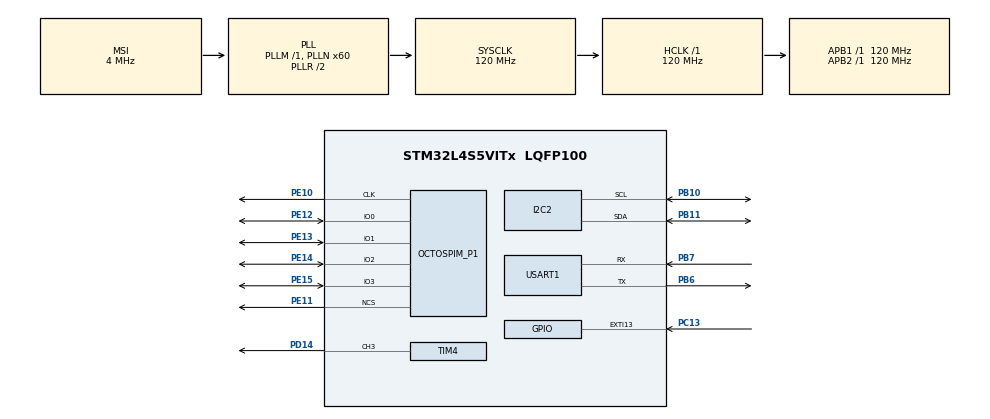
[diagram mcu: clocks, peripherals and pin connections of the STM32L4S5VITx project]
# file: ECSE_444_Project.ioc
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I2C2.Timing=0x30A175AB
Mcu.Family=STM32L4
Mcu.Name=STM32L4S5VITx
Mcu.Package=LQFP100
NVIC.EXTI15_10_IRQn=true\:0\:0\:false\:false\:true\:true\:true\:true
NVIC.PriorityGroup=NVIC_PRIORITYGROUP_4
NVIC.TIM6_DAC_IRQn=true\:15\:0\:false\:false\:true\:false\:true\:true
NVIC.TimeBase=TIM6_DAC_IRQn
NVIC.TimeBaseIP=TIM6
PB10.Mode=I2C
PB10.Signal=I2C2_SCL
PB11.Mode=I2C
PB11.Signal=I2C2_SDA
PB6.Mode=Asynchronous
PB6.Signal=USART1_TX
PB7.Mode=Asynchronous
PB7.Signal=USART1_RX
PC13.Signal=GPXTI13
PD14.Signal=S_TIM4_CH3
PE10.Mode=O1_P1_CLK
PE10.Signal=OCTOSPIM_P1_CLK
PE11.Mode=OCTOSPI1_Port1_NCS
PE11.Signal=OCTOSPIM_P1_NCS
PE12.Mode=OCTOSPI1_IOL_Port1L
PE12.Signal=OCTOSPIM_P1_IO0
PE13.Mode=OCTOSPI1_IOL_Port1L
PE13.Signal=OCTOSPIM_P1_IO1
PE14.Mode=OCTOSPI1_IOL_Port1L
PE14.Signal=OCTOSPIM_P1_IO2
PE15.Mode=OCTOSPI1_IOL_Port1L
PE15.Signal=OCTOSPIM_P1_IO3
ProjectManager.HeapSize=0x200
ProjectManager.StackSize=0x400
ProjectManager.TargetToolchain=STM32CubeIDE
RCC.ADCFreq_Value=48000000
RCC.AHBFreq_Value=120000000
RCC.APB1Freq_Value=120000000
RCC.APB1TimFreq_Value=120000000
RCC.APB2Freq_Value=120000000
RCC.APB2TimFreq_Value=120000000
RCC.CortexFreq_Value=120000000
RCC.HCLKFreq_Value=120000000
RCC.HSE_VALUE=8000000
RCC.HSI48_VALUE=48000000
RCC.HSI_VALUE=16000000
RCC.LSE_VALUE=32768
RCC.MSI_VALUE=4000000
RCC.PLLN=60
RCC.PLLSAI1N=24
RCC.SYSCLKFreq_VALUE=120000000
RCC.SYSCLKSource=RCC_SYSCLKSOURCE_PLLCLK
RCC.USBFreq_Value=48000000
RCC.VCOOutputFreq_Value=240000000
SH.S_TIM4_CH3.0=TIM4_CH3,PWM Generation3 CH3
TIM4.Channel-PWM\ Generation3\ CH3=TIM_CHANNEL_3
TIM4.Period=19999
TIM4.Prescaler=119
USART1.VirtualMode-Asynchronous=VM_ASYNC
VP_OCTOSPI1_VS_quad.Mode=quad_mode
VP_SYS_VS_tim6.Mode=TIM6
VP_TIM4_VS_ClockSourceINT.Mode=Internal
board=B-L4S5I-IOT01A

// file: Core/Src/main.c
/* USER CODE BEGIN Header */
/**
  ******************************************************************************
  * @file           : main.c
  * @brief          : Main program body
  ******************************************************************************
  * @attention
  *
  * Copyright (c) 2026 STMicroelectronics.
  * All rights reserved.
  *
  * This software is licensed under terms that can be found in the LICENSE file
  * in the root directory of this software component.
  * If no LICENSE file comes with this software, it is provided AS-IS.
  *
  ******************************************************************************
  */

/*
 * Code References:
 * Sleep Mode: https://wiki.st.com/stm32mcu/wiki/Getting_started_with_PWR#Configure_the_sleep_mode
 * Wrench to PWM: https://github.com/mcgill-robotics/AUV-2025/blob/noetic/catkin_ws/src/propulsion/src/thrust_mapper.py
 * All previous labs for ECSE444, all course materials from ECSE 444
 */

/* USER CODE END Header */
#include "main.h"
#include "i2c.h"
#include "octospi.h"
#include "tim.h"
#include "usart.h"
#include "gpio.h"

/* USER CODE BEGIN Includes */
#include <stdio.h>
#include <string.h>
#include <stdbool.h>
#define ARM_MATH_CM4
#include "arm_math.h"

#include "stm32l4s5i_iot01_qspi.h"
#include "stm32l4s5i_iot01_tsensor.h"
/* USER CODE END Includes */

/* USER CODE BEGIN PTD */

/* Struct for wrench vector */
typedef struct {
    union {
        float wrench[6];
        struct {
            float force_x, force_y, force_z;
            float torque_x, torque_y, torque_z;
        };
    };
    bool isValid;
} WrenchPacket;

/* USER CODE END PTD */

/* USER CODE BEGIN PD */

#define UART_RX_TIMEOUT      100
#define UART_TX_TIMEOUT      100
#define UART_RX_BUFFER_SIZE  128
#define UART_TX_BUFFER_SIZE  256
#define WRENCH_SIZE          6
#define NUM_THRUSTERS        8

#define AUV_ALPHA_DEG   45.0f    // angle_thruster (from launch file)
#define AUV_W           0.47f    // distance_thruster_thruster_width
#define AUV_A           0.0925f  // distance_thruster_middle_length

#define PWM_NEUTRAL     1500
#define PWM_LOWER       1228     // thruster_PWM_lower_limit
#define PWM_UPPER       1768     // thruster_PWM_upper_limit

#define NUM_SENSORS 			3			// Temperature, voltage1, voltage 2
#define NUM_SAMPLES 			5  			// Can increment to be a larger number of samples as desired
#define DATA_SIZE 				0x1000
#define FLASH_BLOCK_ADDR 		0x000000 	// Base address of flash memory area used
#define TEMP_FLASH_ADDR			0x000000
#define VOLTAGE1_FLASH_ADDR  	0x001000
#define VOLTAGE2_FLASH_ADDR	    0x002000
#define MAX_TEMP				30		    // Max allowed temperature

/* USER CODE END PD */

/* USER CODE BEGIN PV */
char     uartRxBuffer[UART_RX_BUFFER_SIZE];
char     uartTxBuffer[UART_TX_BUFFER_SIZE];
uint8_t  uartByte;
uint8_t  byte = 0;
WrenchPacket wrenchPacket = {0};

// CMSIS-DSP matrix data buffers
static float32_t T_data[6 * 8];
static float32_t T_t_data[8 * 6];
static float32_t TTt_data[6 * 6];
static float32_t TTt_copy_data[6 * 6];
static float32_t TTt_inv_data[6 * 6];
static float32_t T_inv_data[8 * 6];
static float32_t wrench_vec[6];
static float32_t forces_vec[8];

// CMSIS-DSP matrix instances
static arm_matrix_instance_f32 mat_T, mat_T_t;
static arm_matrix_instance_f32 mat_TTt, mat_TTt_copy, mat_TTt_inv;
static arm_matrix_instance_f32 mat_T_inv;
static arm_matrix_instance_f32 mat_wrench, mat_forces;

static const float32_t mount_dirs[NUM_THRUSTERS] = {
    1.0f, 1.0f, 1.0f, 1.0f, 1.0f, 1.0f, 1.0f, 1.0f
};

// Samples of sensor data
float tempSample, voltage1Sample, voltage2Sample;

// Store samples of sensor data in an array
float tempData[NUM_SAMPLES];
float voltage1Data[NUM_SAMPLES];
float voltage2Data[NUM_SAMPLES];

// Counter for number of samples taken from each sensor (assume all taken at the same time)
uint16_t sampleCount = {0};

// Store sensor data read from flash
float tempDataFlashRead[NUM_SAMPLES];
float voltage1DataFlashRead[NUM_SAMPLES];
float voltage2DataFlashRead[NUM_SAMPLES];

// Check if flash has been written to at least once
bool writeOnce = false;

/* USER CODE END PV */

void SystemClock_Config(void);
/* USER CODE BEGIN PFP */
void Uart_Processing(void);
void ThrustMapper_Init(void);
void Compute_PWM_From_Wrench(WrenchPacket *wp, uint16_t pwm_out[NUM_THRUSTERS]);
float32_t Force_To_PWM(float32_t force);
void Sensors_Write_to_Flash();
void Sensors_Read_from_Flash();
void Sleep_Mode();
void Bad_Input();

/* USER CODE END PFP */

int main(void)
{

  /* MCU Configuration--------------------------------------------------------*/

  /* Reset of all peripherals, Initializes the Flash interface and the Systick. */
  HAL_Init();

  /* Configure the system clock */
  SystemClock_Config();

  /* Initialize all configured peripherals */
  MX_GPIO_Init();
  MX_OCTOSPI1_Init();
  MX_I2C2_Init();
  MX_USART1_UART_Init();
  MX_TIM4_Init();
  /* USER CODE BEGIN 2 */

  ThrustMapper_Init();
  BSP_TSENSOR_Init();

  // Start Timer 4, Channel 3 (PWM) and set to 1500
  HAL_TIM_PWM_Start(&htim4, TIM_CHANNEL_3);
  __HAL_TIM_SET_COMPARE(&htim4, TIM_CHANNEL_3, 1500);  // set thruster output to 0

  if (BSP_QSPI_Init() != QSPI_OK) {
	  Error_Handler();
	}

  // Erase flash memory to be used for sensor data
  for (int i = 0; i < NUM_SENSORS; i++) {
      if (BSP_QSPI_Erase_Block(FLASH_BLOCK_ADDR + i * DATA_SIZE) != QSPI_OK) {
          Error_Handler();
      }
  }

  /* USER CODE END 2 */

  /* Infinite loop */
  /* USER CODE BEGIN WHILE */
  while (1)
  {

	  // Main function to process UART input and make decisions
	  Uart_Processing();

    /* USER CODE END WHILE */

  }
}

void SystemClock_Config(void)
{
  RCC_OscInitTypeDef RCC_OscInitStruct = {0};
  RCC_ClkInitTypeDef RCC_ClkInitStruct = {0};

  /** Configure the main internal regulator output voltage
  */
  if (HAL_PWREx_ControlVoltageScaling(PWR_REGULATOR_VOLTAGE_SCALE1_BOOST) != HAL_OK)
  {
    Error_Handler();
  }

  /** Initializes the RCC Oscillators according to the specified parameters
  * in the RCC_OscInitTypeDef structure.
  */
  RCC_OscInitStruct.OscillatorType = RCC_OSCILLATORTYPE_MSI;
  RCC_OscInitStruct.MSIState = RCC_MSI_ON;
  RCC_OscInitStruct.MSICalibrationValue = 0;
  RCC_OscInitStruct.MSIClockRange = RCC_MSIRANGE_6;
  RCC_OscInitStruct.PLL.PLLState = RCC_PLL_ON;
  RCC_OscInitStruct.PLL.PLLSource = RCC_PLLSOURCE_MSI;
  RCC_OscInitStruct.PLL.PLLM = 1;
  RCC_OscInitStruct.PLL.PLLN = 60;
  RCC_OscInitStruct.PLL.PLLP = RCC_PLLP_DIV2;
  RCC_OscInitStruct.PLL.PLLQ = RCC_PLLQ_DIV2;
  RCC_OscInitStruct.PLL.PLLR = RCC_PLLR_DIV2;
  if (HAL_RCC_OscConfig(&RCC_OscInitStruct) != HAL_OK)
  {
    Error_Handler();
  }

  /** Initializes the CPU, AHB and APB buses clocks
  */
  RCC_ClkInitStruct.ClockType = RCC_CLOCKTYPE_HCLK|RCC_CLOCKTYPE_SYSCLK
                              |RCC_CLOCKTYPE_PCLK1|RCC_CLOCKTYPE_PCLK2;
  RCC_ClkInitStruct.SYSCLKSource = RCC_SYSCLKSOURCE_PLLCLK;
  RCC_ClkInitStruct.AHBCLKDivider = RCC_SYSCLK_DIV1;
  RCC_ClkInitStruct.APB1CLKDivider = RCC_HCLK_DIV1;
  RCC_ClkInitStruct.APB2CLKDivider = RCC_HCLK_DIV1;

  if (HAL_RCC_ClockConfig(&RCC_ClkInitStruct, FLASH_LATENCY_5) != HAL_OK)
  {
    Error_Handler();
  }
}

/* USER CODE BEGIN 4 */

// User Functions

/*
 * static void ThrustMapper_BuildT(void)
 * Construct thruster allocation matrix that maps individual thruster forces to six-DOF wrench
 */
static void ThrustMapper_BuildT(void) {
    float32_t alpha = AUV_ALPHA_DEG * (float32_t)M_PI / 180.0f;
    float32_t ca = arm_cos_f32(alpha);
    float32_t sa = arm_sin_f32(alpha);
    float32_t w  = AUV_W;
    float32_t a  = AUV_A;
    float32_t gm = a * sa - (w / 2.0f) * ca;

    // Row 0 — SURGE
    T_data[0]=ca;   T_data[1]=0;    T_data[2]=0;    T_data[3]=-ca;
    T_data[4]=-ca;  T_data[5]=0;    T_data[6]=0;    T_data[7]=ca;
    // Row 1 — SWAY
    T_data[8]=-sa;  T_data[9]=0;    T_data[10]=0;   T_data[11]=-sa;
    T_data[12]=sa;  T_data[13]=0;   T_data[14]=0;   T_data[15]=sa;
    // Row 2 — HEAVE
    T_data[16]=0;   T_data[17]=-1;  T_data[18]=-1;  T_data[19]=0;
    T_data[20]=0;   T_data[21]=-1;  T_data[22]=-1;  T_data[23]=0;
    // Row 3 — ROLL
    T_data[24]=0;   T_data[25]=w/2; T_data[26]=w/2; T_data[27]=0;
    T_data[28]=0;   T_data[29]=-w/2;T_data[30]=-w/2;T_data[31]=0;
    // Row 4 — PITCH
    T_data[32]=0;   T_data[33]=-a;  T_data[34]=a;   T_data[35]=0;
    T_data[36]=0;   T_data[37]=a;   T_data[38]=-a;  T_data[39]=0;
    // Row 5 — YAW
    T_data[40]=-gm; T_data[41]=0;   T_data[42]=0;   T_data[43]=gm;
    T_data[44]=-gm; T_data[45]=0;   T_data[46]=0;   T_data[47]=gm;
}

/*
 * void ThrustMapper_Init(void)
 * Calculate the pseudoinverse of the thruster allocation matrix
 */
void ThrustMapper_Init(void) {
    ThrustMapper_BuildT();

    arm_mat_init_f32(&mat_T,        6, 8, T_data);
    arm_mat_init_f32(&mat_T_t,      8, 6, T_t_data);
    arm_mat_init_f32(&mat_TTt,      6, 6, TTt_data);
    arm_mat_init_f32(&mat_TTt_copy, 6, 6, TTt_copy_data);
    arm_mat_init_f32(&mat_TTt_inv,  6, 6, TTt_inv_data);
    arm_mat_init_f32(&mat_T_inv,    8, 6, T_inv_data);
    arm_mat_init_f32(&mat_wrench,   6, 1, wrench_vec);
    arm_mat_init_f32(&mat_forces,   8, 1, forces_vec);

    arm_mat_trans_f32(&mat_T, &mat_T_t);
    arm_mat_mult_f32(&mat_T, &mat_T_t, &mat_TTt);
    memcpy(TTt_copy_data, TTt_data, sizeof(TTt_copy_data));
    arm_mat_inverse_f32(&mat_TTt_copy, &mat_TTt_inv);
    arm_mat_mult_f32(&mat_T_t, &mat_TTt_inv, &mat_T_inv);
}

/*
 * float32_t Force_To_PWM(float32_t force)
 * Convert requested force on a specific thruster to a PWM value using polynomial regression
 */
float32_t Force_To_PWM(float32_t force) {
    static const float32_t c[8] = {
        1500.0f, 30.0f, 0.0f, 0.0f, 0.0f, 0.0f, 0.0f, 0.0f
    };
    float32_t result = c[0];
    float32_t f_pow  = force;
    for (int i = 1; i <= 7; i++) {
        result += c[i] * f_pow;
        f_pow  *= force;
    }
    return result;
}

/*
 * void Compute_PWM_From_Wrench(WrenchPacket *wp, uint16_t pwm_out[NUM_THRUSTERS])
 * Convert a requested wrench in the frame of the AUV to specific force outputs from specific thrusters
 */
void Compute_PWM_From_Wrench(WrenchPacket *wp, uint16_t pwm_out[NUM_THRUSTERS]) {
    wrench_vec[0] = wp->force_x;  wrench_vec[1] = wp->force_y;
    wrench_vec[2] = wp->force_z;  wrench_vec[3] = wp->torque_x;
    wrench_vec[4] = wp->torque_y; wrench_vec[5] = wp->torque_z;

    arm_mat_mult_f32(&mat_T_inv, &mat_wrench, &mat_forces);

    for (int i = 0; i < NUM_THRUSTERS; i++) {
        float32_t pwm_f = Force_To_PWM(forces_vec[i] * mount_dirs[i]);
        if      (pwm_f > PWM_UPPER) pwm_f = PWM_UPPER;
        else if (pwm_f < PWM_LOWER) pwm_f = PWM_LOWER;
        pwm_out[i] = (uint16_t)pwm_f;
    }
}

/**
 * void Uart_Processing(void)
 * Processes UART byte-by-byte and does actions based on what is received
 * Parses based on assumed formats for RX
 */

void Uart_Processing(void) {
    static char line[128];
    static uint8_t idx = 0;

    // When a byte is received, check what type of data/command we're getting
    if (HAL_UART_Receive(&huart1, &byte, 1, UART_RX_TIMEOUT) == HAL_OK) {

    	// Check if we're at the end of a line (i.e. a single command)
        if (byte == '\r' || byte == '\n') {
            line[idx] = '\0';  // terminate string

            // 1. Voltage command: v, <voltage1, voltage2>
            if (line[0] == 'v') {

                if (sscanf(line, "v, %f, %f", &voltage1Sample, &voltage2Sample) == 2) {

                	// Save the data into buffers
                    voltage1Data[sampleCount] = voltage1Sample;
                    voltage2Data[sampleCount] = voltage2Sample;

                    // Get data from temp sensor
                    tempSample = BSP_TSENSOR_ReadTemp();
                    tempData[sampleCount] = tempSample;

                    // Increment the sample counter
                    sampleCount++;

                    // If received enough samples, save to flash
                    if (sampleCount >= (NUM_SAMPLES)) {
                    	Sensors_Write_to_Flash();
                    	writeOnce = true; // flag that flash has been written to
                    	sampleCount = 0;  // reset sample counter
                    }

                    // UART TX the receieved voltage and the temperature value
                    int len = snprintf(uartTxBuffer, sizeof(uartTxBuffer),
                        "Data -> T: %.2f V1: %.2f V2: %.2f\r\n",
                        tempSample, voltage1Sample, voltage2Sample);

                    HAL_UART_Transmit(&huart1, (uint8_t*)uartTxBuffer, len, UART_TX_TIMEOUT);

                    // If voltage is too low, go into sleep mode to save power
                    if ((voltage1Sample < 10) || (voltage2Sample < 10)) {
						int len = snprintf(uartTxBuffer, sizeof(uartTxBuffer),
									"Battery voltage too low. Entering sleep mode now.\n");
								HAL_UART_Transmit(&huart1, (uint8_t*)uartTxBuffer, len, UART_TX_TIMEOUT);
								Sleep_Mode();
                    }
                }

                // If input in wrong format, TX a message to the user
                else{
                	Bad_Input();
                }
            }

            // 2. Telemetry command: t
            else if (line[0] == 't') {

            	if (writeOnce) { // make sure no flash read unless data has been written at least once

					// Get tempDataFlashRead, voltage1DataFlashRead, and voltage2DataFlashRead
					Sensors_Read_from_Flash();

					// TX data from flash
					for (int i = 0; i < (NUM_SAMPLES); i++) {

						int len = snprintf(uartTxBuffer, sizeof(uartTxBuffer),
							"Sample %d -> T: %.2f V1: %.2f V2: %.2f\r\n",
							i, tempDataFlashRead[i], voltage1DataFlashRead[i], voltage2DataFlashRead[i]);

						HAL_UART_Transmit(&huart1, (uint8_t*)uartTxBuffer, len, UART_TX_TIMEOUT);
					}

            	}

            	// If not enough samples have been taken to display
            	else {
					int len = snprintf(uartTxBuffer, sizeof(uartTxBuffer),
						"Not enough samples taken. You have taken %d samples and you need %d.",
						sampleCount, (uint8_t)NUM_SAMPLES);
					HAL_UART_Transmit(&huart1, (uint8_t*)uartTxBuffer, len, UART_TX_TIMEOUT);

            	}

            }

            // 3. Wrench command: w, <force_x, force_y, force_z, torque_x, torque_y, torque_z>
            else if (line[0] == 'w') {
                WrenchPacket wp = {0};

                // Save the data into buffer
                if (sscanf(line, "w, %f, %f, %f, %f, %f, %f",
                    &wp.force_x, &wp.force_y, &wp.force_z,
                    &wp.torque_x, &wp.torque_y, &wp.torque_z) == 6) {

                    wp.isValid = true;

                    // Calculate PWM for each thruster from the input wrench + TX
                    uint16_t pwm[NUM_THRUSTERS];
                    Compute_PWM_From_Wrench(&wp, pwm);

                    int len = snprintf(uartTxBuffer, sizeof(uartTxBuffer), "PWM:[%u,%u,%u,%u,%u,%u,%u,%u]\r\n",
                        pwm[0], pwm[1], pwm[2], pwm[3],
                        pwm[4], pwm[5], pwm[6], pwm[7]);

                    __HAL_TIM_SET_COMPARE(&htim4, TIM_CHANNEL_3, pwm[0]);

                    HAL_UART_Transmit(&huart1, (uint8_t*)uartTxBuffer, len, UART_TX_TIMEOUT);
                }
                // If input in wrong format, TX a message to the user
                else {
                	Bad_Input();
                }
            }

            // If input in wrong format, TX a message to the user
            else {

            	if (idx > 0 || line[0] != '\0') { // don't trigger on empty line
            		int len = snprintf(uartTxBuffer, sizeof(uartTxBuffer),
            	                        	"Invalid Command. Valid commands: <f, Fx, Fy, Fz, Tx, Ty, Tz> and <t>\r\n");
            		HAL_UART_Transmit(&huart1, (uint8_t*)uartTxBuffer, len, UART_TX_TIMEOUT);
            	}
            }

            // reset buffer
            idx = 0;
        }

        // Overflow protection
        else {
            if (idx < sizeof(line) - 1) {
                line[idx++] = byte;
            }
            else {
                idx = 0;
            }
        }
    }
}

/**
 * void Sensors_Write_to_Flash() {
 * Write sensor data buffers to flash (tempData, voltage1Data, voltage2Data)
 */
void Sensors_Write_to_Flash() {

	BSP_QSPI_Erase_Block(FLASH_BLOCK_ADDR);

	// 100 floats * 4B/float = 400B
    BSP_QSPI_Write((uint8_t*)tempData, TEMP_FLASH_ADDR, sizeof(tempData));

    BSP_QSPI_Write((uint8_t*)voltage1Data, VOLTAGE1_FLASH_ADDR, sizeof(voltage1Data));

    BSP_QSPI_Write((uint8_t*)voltage2Data, VOLTAGE2_FLASH_ADDR, sizeof(voltage2Data));

}

/**
 * Sensors_Read_from_Flash( {
 * Read sensor data buffers to flash (tempDataFlashRead, voltage1DataFlashRead, voltage2DataFlashRead)
 */
void Sensors_Read_from_Flash() {

	// 100 floats * 4B/float = 400B
	if (BSP_QSPI_Read((uint8_t*)tempDataFlashRead, TEMP_FLASH_ADDR, sizeof(tempDataFlashRead)) != QSPI_OK){
	      Error_Handler();
	}

	if (BSP_QSPI_Read((uint8_t*)voltage1DataFlashRead, VOLTAGE1_FLASH_ADDR, sizeof(voltage1DataFlashRead)) != QSPI_OK){
	      Error_Handler();
	}

	if (BSP_QSPI_Read((uint8_t*)voltage2DataFlashRead, VOLTAGE2_FLASH_ADDR, sizeof(voltage2DataFlashRead)) != QSPI_OK){
	      Error_Handler();
	}

}

/**
 * void Sleep_Mode() {
 * Enter Sleep Mode
 */
void Sleep_Mode() {

	// Set thruster output to 0
	__HAL_TIM_SET_COMPARE(&htim4, TIM_CHANNEL_3, 1500);

	// Enter sleep mode
	HAL_SuspendTick();
	HAL_PWR_EnterSLEEPMode(PWR_MAINREGULATOR_ON, PWR_SLEEPENTRY_WFI);

}

void HAL_GPIO_EXTI_Callback(uint16_t GPIO_Pin)
{
    if(GPIO_Pin == GPIO_PIN_1) // If blue button pressed
    {
        // Wake up
        HAL_ResumeTick();
    }
}

/**
 * void Bad_Input()
 * Sends TX in response to invalid input from computer
 */
void Bad_Input() {
	int len = snprintf(uartTxBuffer, sizeof(uartTxBuffer),
                        	"Invalid Command. Valid commands: <f, Fx, Fy, Fz, Tx, Ty, Tz> and <t>\r\n");
	HAL_UART_Transmit(&huart1, (uint8_t*)uartTxBuffer, len, UART_TX_TIMEOUT);
}

/* USER CODE END 4 */

void HAL_TIM_PeriodElapsedCallback(TIM_HandleTypeDef *htim)
{
  if (htim->Instance == TIM6)
  {
    HAL_IncTick();
  }
}

void Error_Handler(void)
{
  __disable_irq();
  while (1)
  {
  }
}
